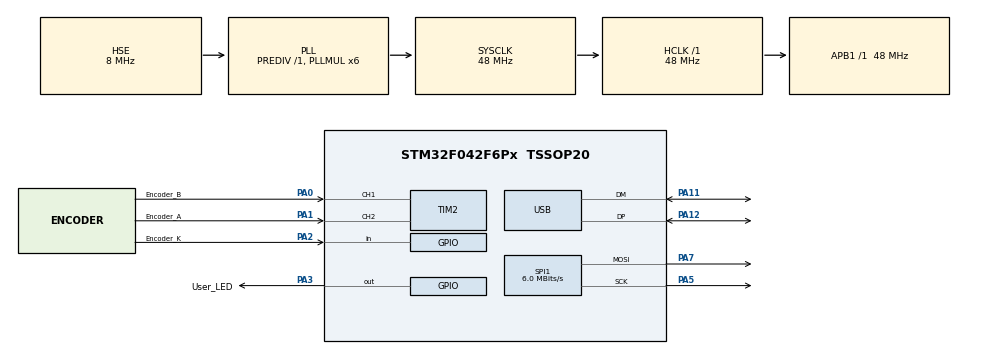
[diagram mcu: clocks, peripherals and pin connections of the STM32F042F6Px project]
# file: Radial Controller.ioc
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Dma.Request0=SPI1_TX
Dma.SPI1_TX.0.Direction=DMA_MEMORY_TO_PERIPH
Dma.SPI1_TX.0.Instance=DMA1_Channel3
Dma.SPI1_TX.0.MemDataAlignment=DMA_MDATAALIGN_BYTE
Dma.SPI1_TX.0.MemInc=DMA_MINC_ENABLE
Dma.SPI1_TX.0.Mode=DMA_NORMAL
Dma.SPI1_TX.0.PeriphDataAlignment=DMA_PDATAALIGN_BYTE
Dma.SPI1_TX.0.PeriphInc=DMA_PINC_DISABLE
Dma.SPI1_TX.0.Priority=DMA_PRIORITY_LOW
Mcu.Family=STM32F0
Mcu.Name=STM32F042F6Px
Mcu.Package=TSSOP20
NVIC.DMA1_Channel2_3_IRQn=true\:0\:0\:false\:false\:true\:false\:true\:true
NVIC.TIM3_IRQn=true\:0\:0\:false\:false\:true\:true\:true\:true
NVIC.USB_IRQn=true\:0\:0\:false\:false\:true\:false\:true\:true
PA0.GPIO_Label=Encoder_B
PA0.GPIO_PuPd=GPIO_PULLUP
PA0.GPIO_Speed=GPIO_SPEED_FREQ_HIGH
PA0.Signal=S_TIM2_CH1_ETR
PA1.GPIO_Label=Encoder_A
PA1.GPIO_PuPd=GPIO_PULLUP
PA1.GPIO_Speed=GPIO_SPEED_FREQ_HIGH
PA1.Signal=S_TIM2_CH2
PA11.Mode=Device
PA11.Signal=USB_DM
PA12.Mode=Device
PA12.Signal=USB_DP
PA13.Mode=Serial_Wire
PA13.Signal=SYS_SWDIO
PA14.Mode=Serial_Wire
PA14.Signal=SYS_SWCLK
PA2.GPIO_Label=Encoder_K
PA2.GPIO_PuPd=GPIO_PULLUP
PA2.Signal=GPIO_Input
PA3.GPIO_Label=User_LED
PA3.GPIO_PuPd=GPIO_PULLDOWN
PA3.GPIO_Speed=GPIO_SPEED_FREQ_LOW
PA3.Signal=GPIO_Output
PA5.Mode=TX_Only_Simplex_Unidirect_Master
PA5.Signal=SPI1_SCK
PA7.Mode=TX_Only_Simplex_Unidirect_Master
PA7.Signal=SPI1_MOSI
PF0-OSC_IN.Mode=HSE-External-Oscillator
PF0-OSC_IN.Signal=RCC_OSC_IN
PF1-OSC_OUT.Mode=HSE-External-Oscillator
PF1-OSC_OUT.Signal=RCC_OSC_OUT
ProjectManager.HeapSize=0x200
ProjectManager.StackSize=0x400
ProjectManager.TargetToolchain=MDK-ARM V5.32
RCC.AHBFreq_Value=48000000
RCC.APB1Freq_Value=48000000
RCC.APB1TimFreq_Value=48000000
RCC.HCLKFreq_Value=48000000
RCC.PLLMUL=RCC_PLL_MUL6
RCC.PLLSourceVirtual=RCC_PLLSOURCE_HSE
RCC.SYSCLKFreq_VALUE=48000000
RCC.SYSCLKSource=RCC_SYSCLKSOURCE_PLLCLK
SH.S_TIM2_CH1_ETR.0=TIM2_CH1,Encoder_Interface
SH.S_TIM2_CH2.0=TIM2_CH2,Encoder_Interface
SPI1.BaudRatePrescaler=SPI_BAUDRATEPRESCALER_8
SPI1.CLKPhase=SPI_PHASE_2EDGE
SPI1.CLKPolarity=SPI_POLARITY_HIGH
SPI1.CalculateBaudRate=6.0 MBits/s
SPI1.DataSize=SPI_DATASIZE_8BIT
SPI1.Direction=SPI_DIRECTION_2LINES
SPI1.Mode=SPI_MODE_MASTER
SPI1.VirtualType=VM_MASTER
TIM2.EncoderMode=TIM_ENCODERMODE_TI12
TIM2.IC1Filter=16-1
TIM2.IC2Filter=16-1
TIM3.Period=50-1
TIM3.Prescaler=4800-1
USB_DEVICE.CLASS_NAME_FS=HID
USB_DEVICE.VirtualMode=Hid
USB_DEVICE.VirtualModeFS=Hid_FS
VP_SYS_VS_PINREMAP.Mode=PINREMAP
VP_TIM3_VS_ClockSourceINT.Mode=Internal
VP_USB_DEVICE_VS_USB_DEVICE_HID_FS.Mode=HID_FS
board=custom

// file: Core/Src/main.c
/* USER CODE BEGIN Header */
/**
 ******************************************************************************
 * @file           : main.c
 * @brief          : Main program body
 ******************************************************************************
 * @attention
 *
 * Copyright (c) 2025 STMicroelectronics.
 * All rights reserved.
 *
 * This software is licensed under terms that can be found in the LICENSE file
 * in the root directory of this software component.
 * If no LICENSE file comes with this software, it is provided AS-IS.
 *
 ******************************************************************************
 */
/* USER CODE END Header */
#include "main.h"
#include "dma.h"
#include "spi.h"
#include "tim.h"
#include "usb_device.h"
#include "gpio.h"

/* USER CODE BEGIN Includes */

#include "MyLED.h"
#include "MyEncoder.h"
#include "MyDial.h"
#include "WS2812.h"
#include "MyTask.h"

/* USER CODE END Includes */

/* USER CODE BEGIN PV */

extern USBD_HandleTypeDef hUsbDeviceFS;

/* USER CODE END PV */

void SystemClock_Config(void);

/* USER CODE BEGIN 0 */

// 在中断中设置标志位
volatile uint8_t ws2812_update_flag = 0;
void HAL_TIM_PeriodElapsedCallback(TIM_HandleTypeDef *htim)
{
  if (htim->Instance == TIM3)
  {
    ws2812_update_flag = 1;
  }
}

/* USER CODE END 0 */

int main(void)
{

  /* MCU Configuration--------------------------------------------------------*/

  /* Reset of all peripherals, Initializes the Flash interface and the Systick. */
  HAL_Init();

  /* Configure the system clock */
  SystemClock_Config();

  /* Initialize all configured peripherals */
  MX_GPIO_Init();
  MX_DMA_Init();
  MX_TIM2_Init();
  MX_USB_DEVICE_Init();
  MX_SPI1_Init();
  MX_TIM3_Init();
  /* USER CODE BEGIN 2 */

  User_LED_ON();
  __HAL_TIM_CLEAR_IT(&htim2, TIM_IT_UPDATE);
  HAL_TIM_Encoder_Start(&htim2, TIM_CHANNEL_ALL);
  HAL_TIM_Base_Start_IT(&htim2);

  // 通过设置自动重装载寄存器ARR的值，改变定时器溢出时间，从而改变呼吸灯变化速度
  __HAL_TIM_SET_AUTORELOAD(&htim3, 180 - 1);
  HAL_TIM_Base_Start_IT(&htim3);

  /* USER CODE END 2 */

  /* Infinite loop */
  /* USER CODE BEGIN WHILE */
  while (1)
  {
    ProcessEncoderAndButton();
    ProcessRGBUpdate();
    /* USER CODE END WHILE */

  }
}

void SystemClock_Config(void)
{
  RCC_OscInitTypeDef RCC_OscInitStruct = {0};
  RCC_ClkInitTypeDef RCC_ClkInitStruct = {0};
  RCC_PeriphCLKInitTypeDef PeriphClkInit = {0};

  /** Initializes the RCC Oscillators according to the specified parameters
   * in the RCC_OscInitTypeDef structure.
   */
  RCC_OscInitStruct.OscillatorType = RCC_OSCILLATORTYPE_HSI48 | RCC_OSCILLATORTYPE_HSE;
  RCC_OscInitStruct.HSEState = RCC_HSE_ON;
  RCC_OscInitStruct.HSI48State = RCC_HSI48_ON;
  RCC_OscInitStruct.PLL.PLLState = RCC_PLL_ON;
  RCC_OscInitStruct.PLL.PLLSource = RCC_PLLSOURCE_HSE;
  RCC_OscInitStruct.PLL.PLLMUL = RCC_PLL_MUL6;
  RCC_OscInitStruct.PLL.PREDIV = RCC_PREDIV_DIV1;
  if (HAL_RCC_OscConfig(&RCC_OscInitStruct) != HAL_OK)
  {
    Error_Handler();
  }

  /** Initializes the CPU, AHB and APB buses clocks
   */
  RCC_ClkInitStruct.ClockType = RCC_CLOCKTYPE_HCLK | RCC_CLOCKTYPE_SYSCLK | RCC_CLOCKTYPE_PCLK1;
  RCC_ClkInitStruct.SYSCLKSource = RCC_SYSCLKSOURCE_PLLCLK;
  RCC_ClkInitStruct.AHBCLKDivider = RCC_SYSCLK_DIV1;
  RCC_ClkInitStruct.APB1CLKDivider = RCC_HCLK_DIV1;

  if (HAL_RCC_ClockConfig(&RCC_ClkInitStruct, FLASH_LATENCY_1) != HAL_OK)
  {
    Error_Handler();
  }
  PeriphClkInit.PeriphClockSelection = RCC_PERIPHCLK_USB;
  PeriphClkInit.UsbClockSelection = RCC_USBCLKSOURCE_HSI48;

  if (HAL_RCCEx_PeriphCLKConfig(&PeriphClkInit) != HAL_OK)
  {
    Error_Handler();
  }
}

void Error_Handler(void)
{
  __disable_irq();
  while (1)
  {
  }
}
